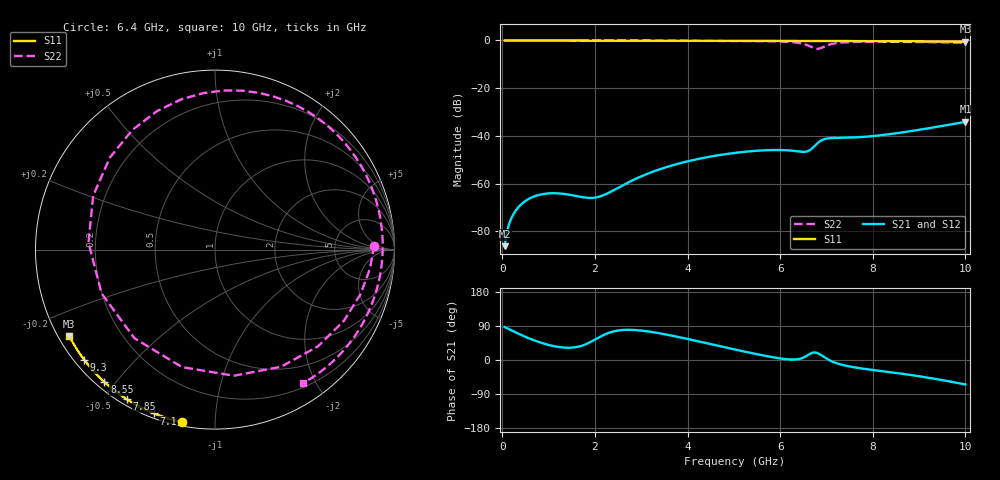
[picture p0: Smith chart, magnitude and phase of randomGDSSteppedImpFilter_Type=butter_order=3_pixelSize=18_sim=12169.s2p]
! freq	dB(S11)	phase(S11)	dB(S12)	phase(S12)
!  dB(S21)	phase(S21)	dB(S22)	phase(S22)
!S-par simulation data
#  GHz  S  DB  R 50
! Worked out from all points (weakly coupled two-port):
!   200 points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, 50 MHz to 10 GHz, reference 50 ohm
!   highest |S21| = -34.10 dB at 10 GHz (marker M1); lowest = -86.2 dB at 50 MHz (marker M2)
!   lowest |S11| = -0.5 dB at 10 GHz (marker M3), VSWR 34.64, Z = 1.55 - j13.7 ohm
!   |S11| at or under -10 dB: nowhere
!   |S22| runs from -3.5 to 0.0 dB; largest |S21 - S12| = 0
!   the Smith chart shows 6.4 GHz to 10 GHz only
!   S11 on the Smith chart (normalised r, x): 6.4 GHz: 0.02, -0.83; 7.1 GHz: 0.02, -0.70; 7.85 GHz: 0.02, -0.57; 8.55 GHz: 0.02, -0.47; 9.3 GHz: 0.03, -0.36; 10 GHz: 0.03, -0.27
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0.05  -0.00 -0.9  -86.21 87.0  -86.21 87.0  -0.00 -5.3
0.35  -0.01 -6.0  -69.84 69.4  -69.84 69.4  -0.05 -35.7
0.8  -0.02 -13.7  -64.69 47.1  -64.69 47.1  -0.09 -76.4
1.2  -0.03 -20.5  -64.07 34.6  -64.07 34.6  -0.11 -106.1
1.75  -0.04 -29.7  -65.75 39.0  -65.75 39.0  -0.11 -138.4
2.5  -0.05 -42.0  -61.76 77.9  -61.76 77.9  -0.12 -172.7
3.4  -0.07 -56.4  -53.98 70.4  -53.98 70.4  -0.14 153.1
4.3  -0.10 -70.3  -49.38 47.5  -49.38 47.5  -0.18 120.8
5.05  -0.13 -81.4  -47.06 27.0  -47.06 27.0  -0.23 92.0
5.9  -0.16 -93.7  -45.90 6.1  -45.90 6.1  -0.41 49.8
6.4  -0.19 -100.7  -46.54 2.5  -46.54 2.5  -1.04 1.5
6.55  -0.20 -102.8  -46.64 9.3  -46.64 9.3  -1.72 -28.9
6.7  -0.20 -104.9  -45.07 19.2  -45.07 19.2  -2.97 -81.4
6.8  -0.21 -106.3  -43.18 18.6  -43.18 18.6  -3.51 -132.3
6.9  -0.22 -107.6  -41.79 11.7  -41.79 11.7  -3.03 176.9
7.1  -0.23 -110.4  -40.91 -2.7  -40.91 -2.7  -1.55 112.7
7.45  -0.25 -115.1  -40.75 -15.9  -40.75 -15.9  -0.74 64.5
7.85  -0.28 -120.5  -40.33 -23.9  -40.33 -23.9  -0.57 35.8
8.35  -0.33 -127.2  -39.31 -31.8  -39.31 -31.8  -0.56 10.0
8.55  -0.34 -129.9  -38.79 -34.9  -38.79 -34.9  -0.59 1.0
9.3  -0.42 -139.9  -36.49 -48.8  -36.49 -48.8  -0.75 -30.0
10  -0.50 -149.3  -34.10 -64.6  -34.10 -64.6  -1.00 -56.7
